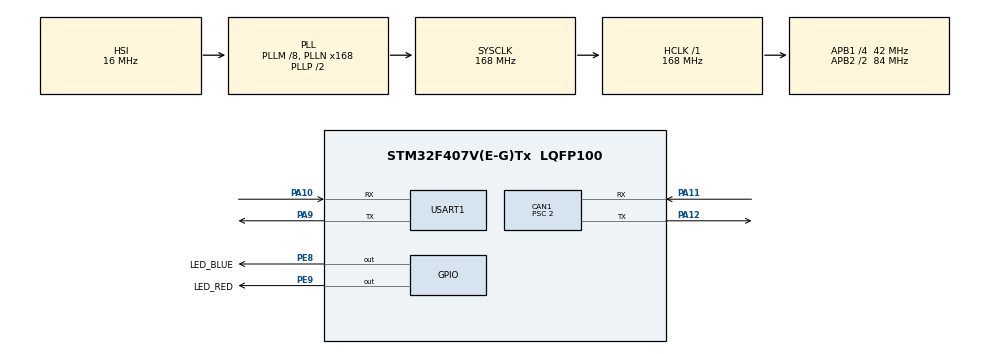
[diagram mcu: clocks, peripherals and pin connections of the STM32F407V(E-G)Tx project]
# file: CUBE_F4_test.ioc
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CAN1.BS1=CAN_BS1_14TQ
CAN1.BS2=CAN_BS2_6TQ
CAN1.CalculateTimeQuantum=47.61904761904762
CAN1.Prescaler=2
Mcu.Family=STM32F4
Mcu.Name=STM32F407V(E-G)Tx
Mcu.Package=LQFP100
NVIC.CAN1_RX0_IRQn=true\:0\:0\:false\:false\:true\:true\:true
NVIC.PriorityGroup=NVIC_PRIORITYGROUP_4
NVIC.RCC_IRQn=true\:0\:0\:false\:false\:true\:true\:false
PA10.Mode=Multiprocessor_communication
PA10.Signal=USART1_RX
PA11.Mode=Master
PA11.Signal=CAN1_RX
PA12.Mode=Master
PA12.Signal=CAN1_TX
PA13.Mode=Serial_Wire
PA13.Signal=SYS_JTMS-SWDIO
PA14.Mode=Serial_Wire
PA14.Signal=SYS_JTCK-SWCLK
PA9.Mode=Multiprocessor_communication
PA9.Signal=USART1_TX
PE8.GPIO_Label=LED_BLUE
PE8.PinState=GPIO_PIN_SET
PE8.Signal=GPIO_Output
PE9.GPIO_Label=LED_RED
PE9.GPIO_ModeDefaultOutputPP=GPIO_MODE_OUTPUT_PP
PE9.PinState=GPIO_PIN_SET
PE9.Signal=GPIO_Output
PH0-OSC_IN.Mode=HSE-External-Oscillator
PH0-OSC_IN.Signal=RCC_OSC_IN
PH1-OSC_OUT.Mode=HSE-External-Oscillator
PH1-OSC_OUT.Signal=RCC_OSC_OUT
ProjectManager.HeapSize=0x200
ProjectManager.StackSize=0x400
ProjectManager.TargetToolchain=STM32CubeIDE
RCC.48MHZClocksFreq_Value=84000000
RCC.AHBFreq_Value=168000000
RCC.APB1CLKDivider=RCC_HCLK_DIV4
RCC.APB1Freq_Value=42000000
RCC.APB1TimFreq_Value=84000000
RCC.APB2CLKDivider=RCC_HCLK_DIV2
RCC.APB2Freq_Value=84000000
RCC.APB2TimFreq_Value=168000000
RCC.CortexFreq_Value=168000000
RCC.HCLKFreq_Value=168000000
RCC.HSE_VALUE=25000000
RCC.HSI_VALUE=16000000
RCC.LSE_VALUE=32768
RCC.PLLM=8
RCC.PLLN=168
RCC.SYSCLKFreq_VALUE=168000000
RCC.SYSCLKSource=RCC_SYSCLKSOURCE_PLLCLK
RCC.VCOOutputFreq_Value=336000000
USART1.VirtualMode=VM_ASYNC
board=custom

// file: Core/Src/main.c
/* USER CODE BEGIN Header */
/**
  ******************************************************************************
  * @file           : main.c
  * @brief          : Main program body
  ******************************************************************************
  * @attention
  *
  * <h2><center>&copy; Copyright (c) 2019 STMicroelectronics.
  * All rights reserved.</center></h2>
  *
  * This software component is licensed by ST under BSD 3-Clause license,
  * the "License"; You may not use this file except in compliance with the
  * License. You may obtain a copy of the License at:
  *                        opensource.org/licenses/BSD-3-Clause
  *
  ******************************************************************************
  */
/* USER CODE END Header */

#include "main.h"

/* USER CODE BEGIN Includes */
#include <stdio.h>
/* USER CODE END Includes */

CAN_HandleTypeDef hcan1;

UART_HandleTypeDef huart1;

/* USER CODE BEGIN PV */
CAN_FilterTypeDef sFilterConfig;
CAN_TxHeaderTypeDef TxHeader;
CAN_RxHeaderTypeDef RxHeader;
uint8_t TxData[8];
uint8_t RxData[8];
uint32_t TxMailbox;
/* USER CODE END PV */

void SystemClock_Config(void);
static void MX_GPIO_Init(void);
static void MX_CAN1_Init(void);
static void MX_USART1_UART_Init(void);

/* USER CODE BEGIN 0 */

#ifdef __GNUC__
  /* With GCC/RAISONANCE, small printf (option LD Linker->Libraries->Small printf
     set to 'Yes') calls __io_putchar() */
  #define PUTCHAR_PROTOTYPE int __io_putchar(int ch)
#else
  #define PUTCHAR_PROTOTYPE int fputc(int ch, FILE *f)
#endif /* __GNUC__ */
/**
  * @brief  Retargets the C library printf function to the USART.
  * @param  None
  * @retval None
  */
PUTCHAR_PROTOTYPE
{
  /* Place your implementation of fputc here */
  /* e.g. write a character to the EVAL_COM1 and Loop until the end of transmission */
  HAL_UART_Transmit(&huart1, (uint8_t *)&ch, 1, 0xFFFF);

  return ch;
}

/* USER CODE END 0 */

int main(void)
{

  /* MCU Configuration--------------------------------------------------------*/

  /* Reset of all peripherals, Initializes the Flash interface and the Systick. */
  HAL_Init();

  /* Configure the system clock */
  SystemClock_Config();

  /* Initialize all configured peripherals */
  MX_GPIO_Init();
  MX_CAN1_Init();
  MX_USART1_UART_Init();
  /* USER CODE BEGIN 2 */
  sFilterConfig.FilterBank = 0;
  sFilterConfig.FilterMode = CAN_FILTERMODE_IDMASK;
  sFilterConfig.FilterScale = CAN_FILTERSCALE_32BIT;
  sFilterConfig.FilterIdHigh = 0x0000;
  sFilterConfig.FilterIdLow = 0x0000;
  sFilterConfig.FilterMaskIdHigh = 0x0000;
  sFilterConfig.FilterMaskIdLow = 0x0000;
  sFilterConfig.FilterFIFOAssignment = CAN_RX_FIFO0;
  sFilterConfig.FilterActivation = ENABLE;
  sFilterConfig.SlaveStartFilterBank = 14;
  if (HAL_CAN_ConfigFilter(&hcan1, &sFilterConfig) != HAL_OK)
  {
  /* Filter configuration Error */
  Error_Handler();
  }
  if (HAL_CAN_Start(&hcan1) != HAL_OK)
  {
  /* Start Error */
  Error_Handler();
  }

  if (HAL_CAN_ActivateNotification(&hcan1, CAN_IT_RX_FIFO0_MSG_PENDING | CAN_IT_TX_MAILBOX_EMPTY) != HAL_OK)
  {
  /* Notification Error */
  Error_Handler();
  }

  TxHeader.StdId = 0x321;
  TxHeader.ExtId = 0x01;
  TxHeader.RTR = CAN_RTR_DATA;
  TxHeader.IDE = CAN_ID_STD;
  TxHeader.DLC = 8;
  TxHeader.TransmitGlobalTime = DISABLE;
  TxData[0] = 1;
  TxData[1] = 2;
  TxData[2] = 3;
  TxData[3] = 4;
  TxData[4] = 5;
  TxData[5] = 6;
  TxData[6] = 7;
  TxData[7] = 8;

  /* USER CODE END 2 */

  /* Infinite loop */
  while (1)
  {

    /* USER CODE BEGIN 3 */
	int i;
	HAL_GPIO_TogglePin(LED_RED_GPIO_Port,LED_RED_Pin);
	 // HAL_Delay(100);
    printf("\n\n\r CAN1 TX: \n\r");
    HAL_CAN_AddTxMessage(&hcan1, &TxHeader, TxData, &TxMailbox);
    for(i=0;i<sizeof(TxData);i++)
    	{

    		printf("%x ", TxData[i]);
    	}
    HAL_Delay(500);
    TxData[7] = TxData[7] + 1;
	 // HAL_GPIO_TogglePin(LED_BLUE_GPIO_Port,LED_BLUE_Pin);
	  HAL_Delay(100);

  }
  /* USER CODE END 3 */
}

void SystemClock_Config(void)
{
  RCC_OscInitTypeDef RCC_OscInitStruct = {0};
  RCC_ClkInitTypeDef RCC_ClkInitStruct = {0};

  /** Configure the main internal regulator output voltage
  */
  __HAL_RCC_PWR_CLK_ENABLE();
  __HAL_PWR_VOLTAGESCALING_CONFIG(PWR_REGULATOR_VOLTAGE_SCALE1);
  /** Initializes the CPU, AHB and APB busses clocks
  */
  RCC_OscInitStruct.OscillatorType = RCC_OSCILLATORTYPE_HSI;
  RCC_OscInitStruct.HSIState = RCC_HSI_ON;
  RCC_OscInitStruct.HSICalibrationValue = RCC_HSICALIBRATION_DEFAULT;
  RCC_OscInitStruct.PLL.PLLState = RCC_PLL_ON;
  RCC_OscInitStruct.PLL.PLLSource = RCC_PLLSOURCE_HSI;
  RCC_OscInitStruct.PLL.PLLM = 8;
  RCC_OscInitStruct.PLL.PLLN = 168;
  RCC_OscInitStruct.PLL.PLLP = RCC_PLLP_DIV2;
  RCC_OscInitStruct.PLL.PLLQ = 4;
  if (HAL_RCC_OscConfig(&RCC_OscInitStruct) != HAL_OK)
  {
    Error_Handler();
  }
  /** Initializes the CPU, AHB and APB busses clocks
  */
  RCC_ClkInitStruct.ClockType = RCC_CLOCKTYPE_HCLK|RCC_CLOCKTYPE_SYSCLK
                              |RCC_CLOCKTYPE_PCLK1|RCC_CLOCKTYPE_PCLK2;
  RCC_ClkInitStruct.SYSCLKSource = RCC_SYSCLKSOURCE_PLLCLK;
  RCC_ClkInitStruct.AHBCLKDivider = RCC_SYSCLK_DIV1;
  RCC_ClkInitStruct.APB1CLKDivider = RCC_HCLK_DIV4;
  RCC_ClkInitStruct.APB2CLKDivider = RCC_HCLK_DIV2;

  if (HAL_RCC_ClockConfig(&RCC_ClkInitStruct, FLASH_LATENCY_5) != HAL_OK)
  {
    Error_Handler();
  }
}

static void MX_CAN1_Init(void)
{

  /* USER CODE BEGIN CAN1_Init 0 */
  CAN_FilterTypeDef  sFilterConfig;
  /* USER CODE END CAN1_Init 0 */

  hcan1.Instance = CAN1;
  hcan1.Init.Prescaler = 2;
  hcan1.Init.Mode = CAN_MODE_NORMAL;
  hcan1.Init.SyncJumpWidth = CAN_SJW_1TQ;
  hcan1.Init.TimeSeg1 = CAN_BS1_14TQ;
  hcan1.Init.TimeSeg2 = CAN_BS2_6TQ;
  hcan1.Init.TimeTriggeredMode = DISABLE;
  hcan1.Init.AutoBusOff = DISABLE;
  hcan1.Init.AutoWakeUp = DISABLE;
  hcan1.Init.AutoRetransmission = DISABLE;
  hcan1.Init.ReceiveFifoLocked = DISABLE;
  hcan1.Init.TransmitFifoPriority = DISABLE;
  if (HAL_CAN_Init(&hcan1) != HAL_OK)
  {
    Error_Handler();
  }

}

static void MX_USART1_UART_Init(void)
{

  huart1.Instance = USART1;
  huart1.Init.BaudRate = 115200;
  huart1.Init.WordLength = UART_WORDLENGTH_8B;
  huart1.Init.StopBits = UART_STOPBITS_1;
  huart1.Init.Parity = UART_PARITY_NONE;
  huart1.Init.Mode = UART_MODE_TX_RX;
  huart1.Init.HwFlowCtl = UART_HWCONTROL_NONE;
  huart1.Init.OverSampling = UART_OVERSAMPLING_16;
  if (HAL_MultiProcessor_Init(&huart1, 0, UART_WAKEUPMETHOD_IDLELINE) != HAL_OK)
  {
    Error_Handler();
  }

}

static void MX_GPIO_Init(void)
{
  GPIO_InitTypeDef GPIO_InitStruct = {0};

  /* GPIO Ports Clock Enable */
  __HAL_RCC_GPIOH_CLK_ENABLE();
  __HAL_RCC_GPIOE_CLK_ENABLE();
  __HAL_RCC_GPIOA_CLK_ENABLE();

  /*Configure GPIO pin Output Level */
  HAL_GPIO_WritePin(GPIOE, LED_BLUE_Pin|LED_RED_Pin, GPIO_PIN_SET);

  /*Configure GPIO pins : LED_BLUE_Pin LED_RED_Pin */
  GPIO_InitStruct.Pin = LED_BLUE_Pin|LED_RED_Pin;
  GPIO_InitStruct.Mode = GPIO_MODE_OUTPUT_PP;
  GPIO_InitStruct.Pull = GPIO_NOPULL;
  GPIO_InitStruct.Speed = GPIO_SPEED_FREQ_LOW;
  HAL_GPIO_Init(GPIOE, &GPIO_InitStruct);

}

/* USER CODE BEGIN 4 */
void HAL_CAN_TxMailbox0CompleteCallback(CAN_HandleTypeDef *hcan)
{
	HAL_GPIO_TogglePin(LED_RED_GPIO_Port,LED_RED_Pin);
}

void HAL_CAN_RxFifo0MsgPendingCallback(CAN_HandleTypeDef *hcan)
{
	int i;
	HAL_CAN_GetRxMessage(&hcan1, CAN_RX_FIFO0, &RxHeader, RxData);
	printf("\r\n\n CAN1 RX:\n\r");
	for(i=0;i<sizeof(RxData);i++)
	{

		printf("%x ", RxData[i]);
	}
	HAL_GPIO_TogglePin(LED_BLUE_GPIO_Port,LED_BLUE_Pin);
}
/* USER CODE END 4 */

void Error_Handler(void)
{
  /* USER CODE BEGIN Error_Handler_Debug */
  /* User can add his own implementation to report the HAL error return state */
	printf("\n\r CAN ERRO!!!\n\r");
  /* USER CODE END Error_Handler_Debug */
}

/************************ (C) COPYRIGHT STMicroelectronics *****END OF FILE****/
